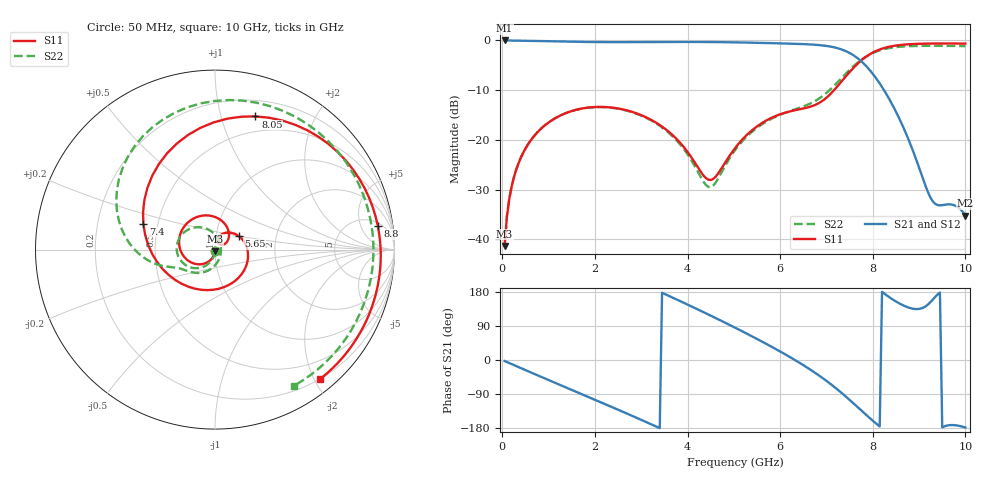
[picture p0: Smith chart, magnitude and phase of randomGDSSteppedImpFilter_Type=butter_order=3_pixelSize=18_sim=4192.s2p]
! freq	dB(S11)	phase(S11)	dB(S12)	phase(S12)
!  dB(S21)	phase(S21)	dB(S22)	phase(S22)
!S-par simulation data
#  GHz  S  DB  R 50
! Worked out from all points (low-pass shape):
!   200 points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, 50 MHz to 10 GHz, reference 50 ohm
!   highest |S21| = 0.00 dB at 50 MHz (marker M1); lowest = -35.2 dB at 10 GHz (marker M2)
!   |S21| within 3 dB of the highest: start of sweep to 7.585 GHz
!   lowest |S11| = -41.4 dB at 50 MHz (marker M3), VSWR 1.02, Z = 50 - j0.852 ohm
!   |S11| at or under -10 dB: start of sweep to 7.164 GHz
!   |S22| runs from -41.4 to -1.1 dB; largest |S21 - S12| = 0
!   S11 on the Smith chart (normalised r, x): 50 MHz: 1.00, -0.02; 5.65 GHz: 1.28, +0.20; 7.4 GHz: 0.41, +0.15; 8.05 GHz: 0.35, +1.29; 8.8 GHz: 6, +10; 10 GHz: 0.20, -2.09
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0.05  -41.37 -92.4  -0.00 -2.7  -0.00 -2.7  -41.39 -91.8
0.1  -35.40 -95.6  -0.01 -5.4  -0.01 -5.4  -35.39 -94.2
0.2  -29.47 -102.0  -0.02 -10.7  -0.02 -10.7  -29.46 -99.0
0.5  -21.76 -120.8  -0.07 -26.6  -0.07 -26.6  -21.74 -113.5
1.15  -15.61 -160.1  -0.19 -60.7  -0.19 -60.7  -15.60 -142.8
1.75  -13.65 163.7  -0.30 -91.9  -0.30 -91.9  -13.66 -169.2
2.5  -13.69 117.6  -0.35 -131.1  -0.35 -131.1  -13.74 158.7
3.4  -17.01 61.5  -0.31 -179.8  -0.31 -179.8  -17.17 118.2
3.9  -21.24 35.3  -0.30 152.0  -0.30 152.0  -21.62 89.5
4.45  -28.02 48.4  -0.32 120.1  -0.32 120.1  -29.46 9.9
5.05  -21.37 69.4  -0.39 83.9  -0.39 83.9  -21.77 -86.1
5.65  -16.38 30.1  -0.51 45.9  -0.51 45.9  -16.62 -119.9
6.2  -14.30 -20.6  -0.64 8.6  -0.64 8.6  -14.25 -141.9
6.7  -13.18 -84.8  -0.83 -29.3  -0.83 -29.3  -12.46 -154.9
7.1  -10.64 -151.1  -1.26 -64.3  -1.26 -64.3  -9.70 -165.0
7.4  -7.43 160.0  -2.08 -94.5  -2.08 -94.5  -6.85 179.1
7.75  -4.04 109.8  -4.19 -132.9  -4.19 -132.9  -3.90 148.9
8.05  -2.21 73.1  -7.32 -165.3  -7.32 -165.3  -2.33 117.3
8.35  -1.27 42.9  -11.70 166.3  -11.70 166.3  -1.55 84.8
8.8  -0.76 8.3  -20.59 137.3  -20.59 137.3  -1.15 38.8
9.35  -0.62 -22.8  -32.89 166.8  -32.89 166.8  -1.08 -10.9
10  -0.64 -50.9  -35.23 -178.2  -35.23 -178.2  -1.14 -60.1
